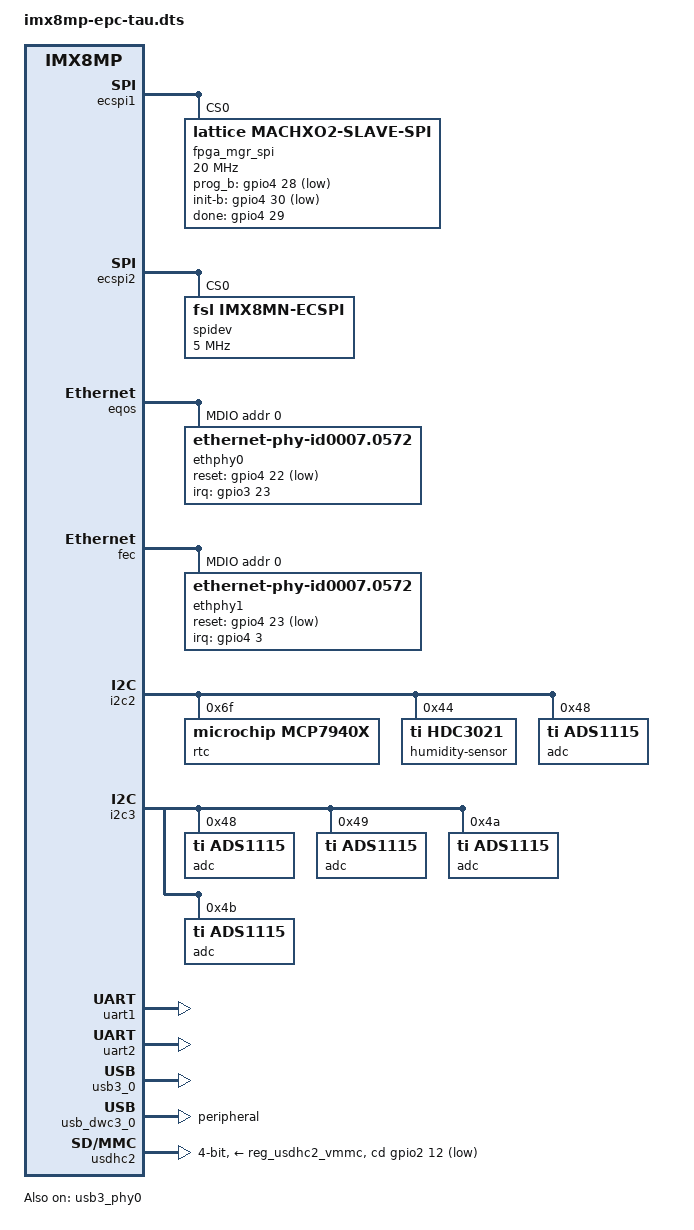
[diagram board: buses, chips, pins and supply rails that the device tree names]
// SPDX-License-Identifier: (GPL-2.0+ OR MIT)
/*
 * Copyright 2026 EPC Power
 *
 * Device tree for EPC Power TAU base board (MOAB)
 *
 * Part Number: 44-100161
 * Compatible Revisions: rev1
 *
 * This is the default device tree that reflects the latest known
 * hardware revision. If there are new peripherals added, you should
 * add them here. For legacy support, use overlays.
 */

/dts-v1/;

#include "imx8mp-epc-tau.dtsi"

/ {
	aliases {
		rtc0 = &rtc;
	};
};

&ecspi1 {
	/* Lattice LCMXO2 Slave Serial */
	fpga_mgr_spi: fpga-mgr@0 {
		compatible = "lattice,machxo2-slave-spi";
		spi-max-frequency = <20000000>;
		reg = <0>;
		prog_b-gpios = <&gpio4 28 GPIO_ACTIVE_LOW>;
		init-b-gpios = <&gpio4 30 GPIO_ACTIVE_LOW>;
		done-gpios   = <&gpio4 29 GPIO_ACTIVE_HIGH>;
	};
};

&ecspi2 {
	/* FPGA comms */
	spidev@0 {
		compatible = "fsl,imx8mn-ecspi", "fsl,imx51-ecspi";
		spi-max-frequency = <5000000>;
		reg = <0>;
	};
};

&eqos {
	mdio {
		compatible = "snps,dwmac-mdio";
		#address-cells = <1>;
		#size-cells = <0>;

		ethphy0: ethernet-phy@0 {
			reg = <0>;
			compatible = "ethernet-phy-id0007.0572";
			reset-gpios = <&gpio4 22 GPIO_ACTIVE_LOW>;  /* ENET_nRST */
			reset-assert-us = <500>;
			reset-deassert-us = <500>;
			interrupt-parent = <&gpio3>;
			interrupts = <23 IRQ_TYPE_LEVEL_LOW>;  /* ENET_nINT */
			vsc8531,led-0-mode = <VSC8531_LINK_100_1000_ACTIVITY>;
			vsc8531,led-1-mode = <VSC8531_LINK_ACTIVITY>;
			vsc8531,led-0-combine-disable;
		};
	};
};

&fec {
	mdio {
		#address-cells = <1>;
		#size-cells = <0>;

		ethphy1: ethernet-phy@0 {
			reg = <0>;
			compatible = "ethernet-phy-id0007.0572";
			reset-gpios = <&gpio4 23 GPIO_ACTIVE_LOW>;  /* ENET1_nRST */
			reset-assert-us = <500>;
			reset-deassert-us = <500>;
			interrupt-parent = <&gpio4>;
			interrupts = <3 IRQ_TYPE_LEVEL_LOW>;  /* ENET1_nINT */
			vsc8531,led-0-mode = <VSC8531_LINK_100_1000_ACTIVITY>;
			vsc8531,led-1-mode = <VSC8531_LINK_ACTIVITY>;
			vsc8531,led-0-combine-disable;
		};
	};
};

&i2c2 {
	/* Real-Time Clock (RTC) with 3V3 backup battery */
    rtc: rtc@6f {
        compatible = "microchip,mcp7940x";
        reg = <0x6f>;
    };

	/* Ambient Temp/Humidity Sensor */
	humidity-sensor@44 {
		compatible = "ti,hdc3021", "ti,hdc3020";
		reg = <0x44>;
	};

    // ADC added to support new temperature sensors (XFMR-TEMP1 and XFMR-TEMP2)
    adc@48 {
        compatible= "ti,ads1115";
        reg = <0x48>;
        #address-cells = <1>;
        #size-cells = <0>;

        channel@4 {
            reg = <4>;
            ti,gain = <1>;
            ti,datarate = <4>;
        };

        channel@5 {
            reg = <5>;
            ti,gain = <1>;
            ti,datarate = <4>;
        };

        channel@6 {
            reg = <6>;
            ti,gain = <1>;
            ti,datarate = <4>;
        };

        channel@7 {
            reg = <7>;
            ti,gain = <1>;
            ti,datarate = <4>;
        };
    };
};

&i2c3 {
	adc@48 {
		compatible= "ti,ads1115";
		reg = <0x48>;
		#address-cells = <1>;
		#size-cells = <0>;

		channel@4 {
			reg = <4>;
			ti,gain = <1>;
			ti,datarate = <4>;
		};

		channel@5 {
			reg = <5>;
			ti,gain = <1>;
			ti,datarate = <4>;
		};

		channel@6 {
			reg = <6>;
			ti,gain = <1>;
			ti,datarate = <4>;
		};

		channel@7 {
			reg = <7>;
			ti,gain = <1>;
			ti,datarate = <4>;
		};
	};

	adc@49 {
		compatible = "ti,ads1115";
		reg = <0x49>;
		#address-cells = <1>;
		#size-cells = <0>;

		channel@4 {
			reg = <4>;
			ti,gain = <1>;
			ti,datarate = <4>;
		};

		channel@5 {
			reg = <5>;
			ti,gain = <1>;
			ti,datarate = <4>;
		};

		channel@6 {
			reg = <6>;
			ti,gain = <1>;
			ti,datarate = <4>;
		};

		channel@7 {
			reg = <7>;
			ti,gain = <1>;
			ti,datarate = <4>;
		};
	};

	adc@4a {
		compatible = "ti,ads1115";
		reg = <0x4A>;
		#address-cells = <1>;
		#size-cells = <0>;

		channel@4 {
			reg = <4>;
			ti,gain = <1>;
			ti,datarate = <4>;
		};

		channel@5 {
			reg = <5>;
			ti,gain = <1>;
			ti,datarate = <4>;
		};

		channel@6 {
			reg = <6>;
			ti,gain = <1>;
			ti,datarate = <4>;
		};

		channel@7 {
			reg = <7>;
			ti,gain = <1>;
			ti,datarate = <4>;
		};
	};

	adc@4b {
		compatible = "ti,ads1115";
		reg = <0x4B>;
		#address-cells = <1>;
		#size-cells = <0>;
		channel@4 {
			reg = <4>;
			ti,gain = <1>;
			ti,datarate = <4>;
		};
		channel@5 {
			reg = <5>;
			ti,gain = <1>;
			ti,datarate = <4>;
		};
		channel@6 {
			reg = <6>;
			ti,gain = <1>;
			ti,datarate = <4>;
		};
		channel@7 {
			reg = <7>;
			ti,gain = <1>;
			ti,datarate = <4>;
		};
	};
};

&uart1 {
	/* FPGA UART */
	pinctrl-names = "default";
	pinctrl-0 = <&pinctrl_uart1>;
	status = "okay";
};


&uart2 {
	/* console */
	pinctrl-names = "default";
	pinctrl-0 = <&pinctrl_uart2>;
	status = "okay";
};

&uart3 {
	/* spare */
	pinctrl-names = "default";
	pinctrl-0 = <&pinctrl_uart3>;
	status = "disabled";
};

&usb3_phy0 {
	fsl,phy-tx-vref-tune = <0xe>;
	fsl,phy-tx-preemp-amp-tune = <3>;
	fsl,phy-tx-vboost-level = <5>;
	fsl,phy-comp-dis-tune = <7>;
	fsl,pcs-tx-deemph-3p5db = <0x21>;
	fsl,phy-pcs-tx-swing-full = <0x7f>;
	status = "okay";
};

&usb3_0 {
	status = "okay";
};

&usb_dwc3_0 {
	dr_mode = "peripheral";
	maximum-speed = "high-speed";
	status = "okay";
};

&usdhc2 {
	assigned-clocks = <&clk IMX8MP_CLK_USDHC2>;
	assigned-clock-rates = <400000000>;
	pinctrl-names = "default", "state_100mhz", "state_200mhz";
	pinctrl-0 = <&pinctrl_usdhc2>, <&pinctrl_usdhc2_gpio>;
	pinctrl-1 = <&pinctrl_usdhc2_100mhz>, <&pinctrl_usdhc2_gpio>;
	pinctrl-2 = <&pinctrl_usdhc2_200mhz>, <&pinctrl_usdhc2_gpio>;
	cd-gpios = <&gpio2 12 GPIO_ACTIVE_LOW>;
	vmmc-supply = <&reg_usdhc2_vmmc>;
	bus-width = <4>;
	status = "okay";
};
